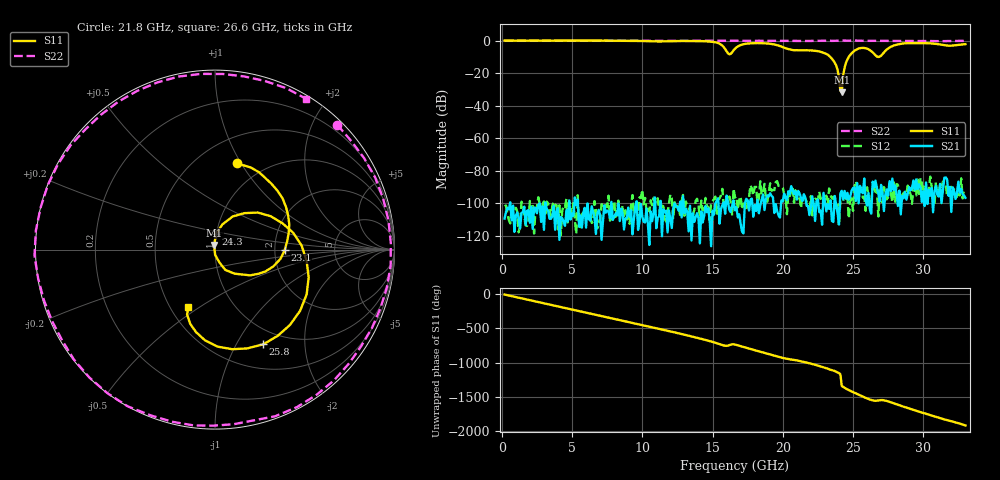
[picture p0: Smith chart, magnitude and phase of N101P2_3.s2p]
# GHZ S RI R 50
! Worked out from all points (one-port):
!   329 points, 200 MHz to 33 GHz, reference 50 ohm
!   lowest |S11| = -31.8 dB at 24.2 GHz (marker M1), VSWR 1.05, Z = 49.5 + j2.5 ohm
!   |S11| at or under -10 dB: 23.37 GHz to 24.7 GHz (1.331 GHz wide, 5.54 % of centre); 26.76803 GHz to 26.85746 GHz (89.43 MHz wide, 0.334 % of centre)
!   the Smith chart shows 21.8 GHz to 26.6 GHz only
!   S11 on the Smith chart (normalised r, x): 21.8 GHz: 0.75, +0.96; 23.1 GHz: 2.27, -0.02; 24.3 GHz: 1.00, +0.17; 25.8 GHz: 0.80, -1.30; 26.6 GHz: 0.62, -0.45
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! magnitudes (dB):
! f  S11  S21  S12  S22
! 200 MHz  0.0  -109.3  -101.8  0.0
! 5.7 GHz  0.0  -114.9  -104.7  0.0
! 11.2 GHz  -0.6  -107.9  -103.6  -0.2
! 15.2 GHz  -1.1  -100.0  -95.8  -0.1
! 16.2 GHz  -8.5  -104.1  -95.8  -0.1
! 16.6 GHz  -5.0  -104.2  -96.4  -0.1
! 18.4 GHz  -1.6  -101.2  -86.4  -0.1
! 21.8 GHz  -6.0  -101.6  -99.1  -0.2
! 22.1 GHz  -6.1  -95.6  -107.4  -0.2
! 23.1 GHz  -8.2  -104.9  -95.2  -0.1
! 23.8 GHz  -15.3  -100.7  -102.0  -0.1
! 24 GHz  -22.5  -113.0  -113.5  -0.1
! 24.1 GHz  -30.8  -93.9  -98.8  0.0
! 24.2 GHz  -31.8  -92.2  -98.0  0.0
! 24.3 GHz  -21.2  -97.5  -98.7  0.0
! 24.5 GHz  -13.6  -97.1  -94.9  -0.1
! 24.8 GHz  -8.8  -95.8  -98.7  0.0
! 25.8 GHz  -4.6  -84.7  -96.0  -0.1
! 26.6 GHz  -9.1  -86.0  -93.1  -0.2
! 26.9 GHz  -9.9  -98.8  -91.8  -0.2
! 27.6 GHz  -4.3  -86.3  -93.8  -0.2
! 33 GHz  -2.2  -96.6  -91.4  -0.2
